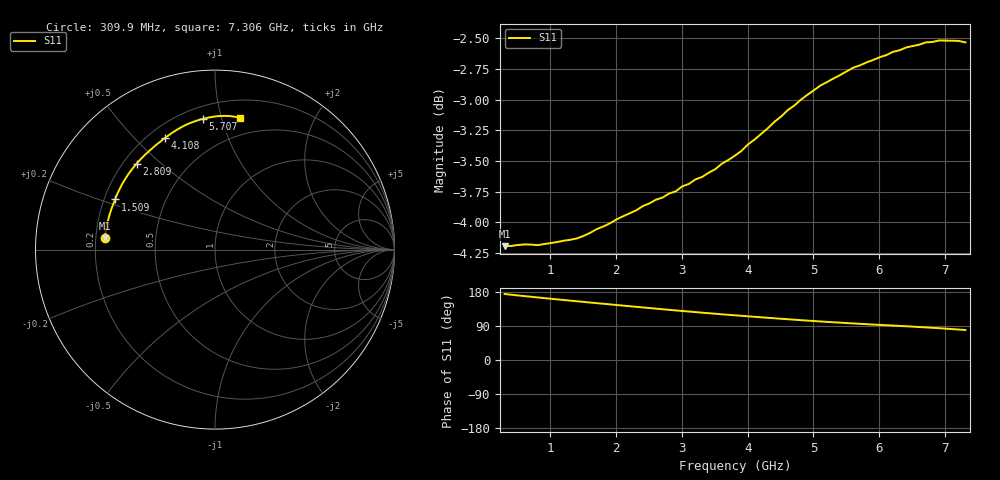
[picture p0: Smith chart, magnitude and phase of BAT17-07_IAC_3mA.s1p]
! Infineon Technologies  Discrete & RF Semiconductors
! BAT17-07
! IAC = 3 mA
! One-Port S-Parameters
# Hz  S  MA  R  50
!f  S11
!Hz  Mag  Ang
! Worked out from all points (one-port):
!   71 points, 309.9 MHz to 7.306 GHz, reference 50 ohm
!   lowest |S11| = -4.2 dB at 309.9 MHz (marker M1), VSWR 4.22, Z = 11.9 + j2.43 ohm
!   |S11| at or under -10 dB: nowhere
!   S11 on the Smith chart (normalised r, x): 309.9 MHz: 0.24, +0.05; 1.509 GHz: 0.24, +0.22; 2.809 GHz: 0.25, +0.42; 4.108 GHz: 0.26, +0.62; 5.707 GHz: 0.28, +0.87; 7.306 GHz: 0.35, +1.15
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3.0985e8  0.6169 174.1
5.0975e8  0.6175 170.4
7.0965e8  0.6178 166.9
1.2094e9  0.62 158.3
1.50925e9  0.6229 153.3
1.70915e9  0.6269 150.0
2.10895e9  0.6345 143.5
2.50875e9  0.6422 137.1
2.6087e9  0.6444 135.5
2.8086e9  0.6482 132.4
3.0085e9  0.6526 129.3
3.2084e9  0.6568 126.3
3.6082e9  0.6666 120.6
3.8081e9  0.6717 117.9
4.10795e9  0.6819 114.0
4.4078e9  0.6934 110.1
4.70765e9  0.7039 106.3
5.10745e9  0.7174 101.6
5.50725e9  0.7271 97.4
5.6072e9  0.7295 96.5
5.70715e9  0.7311 95.4
5.90705e9  0.7348 93.5
6.2069e9  0.7404 90.9
6.50675e9  0.7444 88.0
6.70665e9  0.747 86.0
6.90655e9  0.7484 83.9
7.2064e9  0.748 80.4
7.30635e9  0.747 79.1
